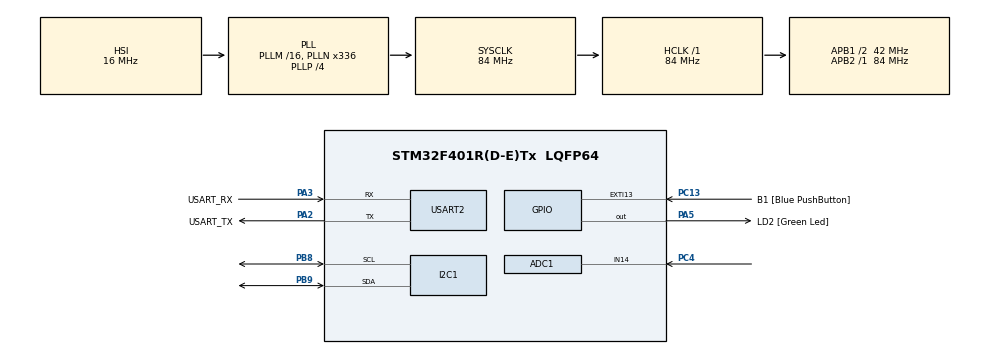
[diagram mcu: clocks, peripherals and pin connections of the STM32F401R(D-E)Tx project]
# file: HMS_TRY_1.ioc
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ADC1.Channel-0\#ChannelRegularConversion=ADC_CHANNEL_14
ADC1.ContinuousConvMode=ENABLE
ADC1.NbrOfConversionFlag=1
ADC1.Rank-0\#ChannelRegularConversion=1
ADC1.SamplingTime-0\#ChannelRegularConversion=ADC_SAMPLETIME_3CYCLES
ADC1.master=1
Mcu.Family=STM32F4
Mcu.Name=STM32F401R(D-E)Tx
Mcu.Package=LQFP64
NVIC.PriorityGroup=NVIC_PRIORITYGROUP_0
PA13.GPIO_Label=TMS
PA13.Mode=Serial_Wire
PA13.Signal=SYS_JTMS-SWDIO
PA14.GPIO_Label=TCK
PA14.Mode=Serial_Wire
PA14.Signal=SYS_JTCK-SWCLK
PA2.GPIO_Label=USART_TX
PA2.GPIO_Mode=GPIO_MODE_AF_PP
PA2.GPIO_PuPd=GPIO_NOPULL
PA2.GPIO_Speed=GPIO_SPEED_FREQ_LOW
PA2.Mode=Asynchronous
PA2.Signal=USART2_TX
PA3.GPIO_Label=USART_RX
PA3.GPIO_Mode=GPIO_MODE_AF_PP
PA3.GPIO_PuPd=GPIO_NOPULL
PA3.GPIO_Speed=GPIO_SPEED_FREQ_LOW
PA3.Mode=Asynchronous
PA3.Signal=USART2_RX
PA5.GPIO_Label=LD2 [Green Led]
PA5.GPIO_Mode=GPIO_MODE_OUTPUT_PP
PA5.GPIO_PuPd=GPIO_NOPULL
PA5.GPIO_Speed=GPIO_SPEED_FREQ_LOW
PA5.Signal=GPIO_Output
PB3.GPIO_Label=SWO
PB3.Signal=SYS_JTDO-SWO
PB8.GPIO_Pu=GPIO_PULLUP
PB8.Mode=I2C
PB8.Signal=I2C1_SCL
PB9.GPIO_Pu=GPIO_PULLUP
PB9.Mode=I2C
PB9.Signal=I2C1_SDA
PC13-ANTI_TAMP.GPIO_Label=B1 [Blue PushButton]
PC13-ANTI_TAMP.GPIO_ModeDefaultEXTI=GPIO_MODE_IT_FALLING
PC13-ANTI_TAMP.GPIO_PuPd=GPIO_NOPULL
PC13-ANTI_TAMP.Signal=GPXTI13
PC14-OSC32_IN.Mode=LSE-External-Oscillator
PC14-OSC32_IN.Signal=RCC_OSC32_IN
PC15-OSC32_OUT.Mode=LSE-External-Oscillator
PC15-OSC32_OUT.Signal=RCC_OSC32_OUT
PC4.Signal=ADCx_IN14
PH0\ -\ OSC_IN.Mode=HSE-External-Clock-Source
PH0\ -\ OSC_IN.Signal=RCC_OSC_IN
PH1\ -\ OSC_OUT.Mode=HSE-External-Clock-Source
PH1\ -\ OSC_OUT.Signal=RCC_OSC_OUT
ProjectManager.HeapSize=0x200
ProjectManager.StackSize=0x400
ProjectManager.TargetToolchain=STM32CubeIDE
RCC.48MHZClocksFreq_Value=48000000
RCC.AHBFreq_Value=84000000
RCC.APB1CLKDivider=RCC_HCLK_DIV2
RCC.APB1Freq_Value=42000000
RCC.APB1TimFreq_Value=84000000
RCC.APB2Freq_Value=84000000
RCC.APB2TimFreq_Value=84000000
RCC.CortexFreq_Value=84000000
RCC.HCLKFreq_Value=84000000
RCC.HSE_VALUE=8000000
RCC.HSI_VALUE=16000000
RCC.PLLN=336
RCC.PLLP=RCC_PLLP_DIV4
RCC.PLLQ=7
RCC.SYSCLKFreq_VALUE=84000000
RCC.SYSCLKSource=RCC_SYSCLKSOURCE_PLLCLK
RCC.VCOOutputFreq_Value=336000000
SH.ADCx_IN14.0=ADC1_IN14,IN14
USART2.VirtualMode=VM_ASYNC
board=NUCLEO-F401RE

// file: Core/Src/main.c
/* USER CODE BEGIN Header */
/**
 ******************************************************************************
 * @file           : main.c
 * @brief          : Main program body
 ******************************************************************************
 * @attention
 *
 * Copyright (c) 2023 STMicroelectronics.
 * All rights reserved.
 *
 * This software is licensed under terms that can be found in the LICENSE file
 * in the root directory of this software component.
 * If no LICENSE file comes with this software, it is provided AS-IS.
 *
 ******************************************************************************
 */
/* USER CODE END Header */
#include "main.h"

/* USER CODE BEGIN Includes */
#include "BML_DEF.h"
#include "uart.h"
#include "MLX90614.h"
#include "max30100.h"
#include "st7783.h"
/* USER CODE END Includes */

/* USER CODE BEGIN PD */
#define PRINT_CHAR_LEN	100
/* USER CODE END PD */

/* USER CODE BEGIN PM */
#define BEAT_COUNTER_LIMIT	25
#define HR_BEAT_TIMEOUT		60000
/* USER CODE END PM */

ADC_HandleTypeDef hadc1;

I2C_HandleTypeDef hi2c1;

UART_HandleTypeDef huart2;

/* USER CODE BEGIN PV */
int8_t menu_select_flag = -1;

//======== MLX90614 Variables ==========//
float temp = 0;
//======================================//

//=========== ECG Variables ============//
uint16_t adcData = 0;
//======================================//

//======== MAX30100 Variables ==========//
max30100_config_t max30100 = { 0 };
uint8_t beatCounter = 0;
int16_t finalHR = 0;
int16_t finalSpO2 = 0;
uint16_t hrBeatTimer = 0;
//======================================//
/* USER CODE END PV */

void SystemClock_Config(void);
static void MX_GPIO_Init(void);
static void MX_USART2_UART_Init(void);
static void MX_ADC1_Init(void);
static void MX_I2C1_Init(void);

int main(void) {

	/* MCU Configuration--------------------------------------------------------*/

	/* Reset of all peripherals, Initializes the Flash interface and the Systick. */
	HAL_Init();

	/* Configure the system clock */
	SystemClock_Config();

	/* Initialize all configured peripherals */
	MX_GPIO_Init();
	MX_USART2_UART_Init();
	MX_ADC1_Init();
	MX_I2C1_Init();
	/* USER CODE BEGIN 2 */
	print("Working\n");

	gpio_config(PORTC, 13, INPUT_MODE, LOW_SPEED, EN_PU, PHPL);
	gpio_IT_config(PORTC, 13, FALLING_EDGE);
	gpio_IT_EN(13, EXTI15_10_IRQn);

	uint8_t mlx90614_workingFlag = 1, mlx90614_status = 0;

	char print_char[PRINT_CHAR_LEN] = { 0 };

	if (!(mlx90614_init())) {
		print("Error in MLX90614 INIT\n");
		mlx90614_workingFlag = 0;
	}

	uint32_t startTime = HAL_GetTick(), lapsedTime = 500;
	max30100_data_t result = { };
	/* USER CODE END 2 */

	/* Infinite loop */
	/* USER CODE BEGIN WHILE */
	while (1) {

		if (menu_select_flag == 0) {
			if (mlx90614_workingFlag == 1) {
				mlx90614_status = mlx90614_getObject1(&temp);
				if (mlx90614_status == true) {
					print("Temp in Celsius: = %0.2f\n", temp);
					Delay(500);
				} else {
					mlx90614_workingFlag = 0;
				}
			} else {
				if (!(mlx90614_init())) {
					print("Error in MLX90614 INIT\n");
					MX_I2C1_Init();
					Delay(500);
					mlx90614_workingFlag = 0;
				} else {
					mlx90614_workingFlag = 1;
				}
			}
		} else if (menu_select_flag == 1) {
			if (max30100_update(&max30100, &result) != HAL_OK) {
				print("Error Reading...Retrying\n");
				MX_I2C1_Init();
				max30100_init(&max30100, &hi2c1,
				MAX30100_DEFAULT_OPERATING_MODE,
				MAX30100_DEFAULT_SAMPLING_RATE,
				MAX30100_DEFAULT_LED_PULSE_WIDTH,
				MAX30100_DEFAULT_IR_LED_CURRENT,
				MAX30100_DEFAULT_START_RED_LED_CURRENT,
				MAX30100_DEFAULT_MEAN_FILTER_SIZE,
				MAX30100_DEFAULT_PULSE_BPM_SAMPLE_SIZE,
				true,
				false);
				Delay(1000);
			} else {
//				hrBeatTimer = HAL_GetTick();
//				if (result.pulse_detected) {
//					print("BEAT: %d\n", beatCounter++);
//				}
//				if (HAL_GetTick() - startTime > lapsedTime) {
//					if (result.ir_dc_value < 10000.00) {
//						print("No finger Detected\n");
//						max30100.current_bpm = 0.0;
//						max30100.current_spO2 = 0.0;
//					} else {
//						if (beatCounter < BEAT_COUNTER_LIMIT) {
//							print("BPM: %0.2f | SpO2: %0.2f%%\n",
//									result.heart_bpm, result.spO2);
//						}
//						else if(beatCounter > BEAT_COUNTER_LIMIT)
//						{
//							finalHR = result.heart_bpm;
//							finalSpO2 = result.spO2;
//							print("//===============| Final HR: %d | SpO2: %d%%|==============//\n",
//									finalHR, finalSpO2);
//							beatCounter = 0;
//						}
////						else if((HAL_GetTick() - hrBeatTimer) > HR_BEAT_TIMEOUT){
////							print("Error Calculating...\n\r");
////							print("Please reposition your finger\n\r");
////						}
//
//					}
//
//					startTime = HAL_GetTick();
//				}
				//			HAL_Delay(10);

					print("%0.2f, %0.2f\n", result.dc_filtered_ir, result.dc_filtered_red);
			}
		} else if (menu_select_flag == 2) {
			HAL_ADC_Start(&hadc1);
			HAL_ADC_PollForConversion(&hadc1, 100);
			adcData = (uint16_t) HAL_ADC_GetValue(&hadc1);
			sprintf(print_char, "Analog Val: %d\n", adcData);
			USART_WRITE(USART2, print_char, strlen(print_char), 100);
		} else if ((menu_select_flag < -1) && (menu_select_flag > 3)) {
			menu_select_flag = -1;
			print("Oh no, a Glitch!!\n\r");
			Delay(500);
			print("We're good\n\r");
			Delay(500);
		}

		/* USER CODE END WHILE */

	}
}

void SystemClock_Config(void) {
	RCC_OscInitTypeDef RCC_OscInitStruct = { 0 };
	RCC_ClkInitTypeDef RCC_ClkInitStruct = { 0 };

	/** Configure the main internal regulator output voltage
	 */
	__HAL_RCC_PWR_CLK_ENABLE();
	__HAL_PWR_VOLTAGESCALING_CONFIG(PWR_REGULATOR_VOLTAGE_SCALE2);

	/** Initializes the RCC Oscillators according to the specified parameters
	 * in the RCC_OscInitTypeDef structure.
	 */
	RCC_OscInitStruct.OscillatorType = RCC_OSCILLATORTYPE_HSI;
	RCC_OscInitStruct.HSIState = RCC_HSI_ON;
	RCC_OscInitStruct.HSICalibrationValue = RCC_HSICALIBRATION_DEFAULT;
	RCC_OscInitStruct.PLL.PLLState = RCC_PLL_ON;
	RCC_OscInitStruct.PLL.PLLSource = RCC_PLLSOURCE_HSI;
	RCC_OscInitStruct.PLL.PLLM = 16;
	RCC_OscInitStruct.PLL.PLLN = 336;
	RCC_OscInitStruct.PLL.PLLP = RCC_PLLP_DIV4;
	RCC_OscInitStruct.PLL.PLLQ = 7;
	if (HAL_RCC_OscConfig(&RCC_OscInitStruct) != HAL_OK) {
		Error_Handler();
	}

	/** Initializes the CPU, AHB and APB buses clocks
	 */
	RCC_ClkInitStruct.ClockType = RCC_CLOCKTYPE_HCLK | RCC_CLOCKTYPE_SYSCLK
			| RCC_CLOCKTYPE_PCLK1 | RCC_CLOCKTYPE_PCLK2;
	RCC_ClkInitStruct.SYSCLKSource = RCC_SYSCLKSOURCE_PLLCLK;
	RCC_ClkInitStruct.AHBCLKDivider = RCC_SYSCLK_DIV1;
	RCC_ClkInitStruct.APB1CLKDivider = RCC_HCLK_DIV2;
	RCC_ClkInitStruct.APB2CLKDivider = RCC_HCLK_DIV1;

	if (HAL_RCC_ClockConfig(&RCC_ClkInitStruct, FLASH_LATENCY_2) != HAL_OK) {
		Error_Handler();
	}
}

static void MX_ADC1_Init(void) {

	ADC_ChannelConfTypeDef sConfig = { 0 };

	/** Configure the global features of the ADC (Clock, Resolution, Data Alignment and number of conversion)
	 */
	hadc1.Instance = ADC1;
	hadc1.Init.ClockPrescaler = ADC_CLOCK_SYNC_PCLK_DIV4;
	hadc1.Init.Resolution = ADC_RESOLUTION_12B;
	hadc1.Init.ScanConvMode = DISABLE;
	hadc1.Init.ContinuousConvMode = ENABLE;
	hadc1.Init.DiscontinuousConvMode = DISABLE;
	hadc1.Init.ExternalTrigConvEdge = ADC_EXTERNALTRIGCONVEDGE_NONE;
	hadc1.Init.ExternalTrigConv = ADC_SOFTWARE_START;
	hadc1.Init.DataAlign = ADC_DATAALIGN_RIGHT;
	hadc1.Init.NbrOfConversion = 1;
	hadc1.Init.DMAContinuousRequests = DISABLE;
	hadc1.Init.EOCSelection = ADC_EOC_SINGLE_CONV;
	if (HAL_ADC_Init(&hadc1) != HAL_OK) {
		Error_Handler();
	}

	/** Configure for the selected ADC regular channel its corresponding rank in the sequencer and its sample time.
	 */
	sConfig.Channel = ADC_CHANNEL_14;
	sConfig.Rank = 1;
	sConfig.SamplingTime = ADC_SAMPLETIME_3CYCLES;
	if (HAL_ADC_ConfigChannel(&hadc1, &sConfig) != HAL_OK) {
		Error_Handler();
	}

}

static void MX_I2C1_Init(void) {

	hi2c1.Instance = I2C1;
	hi2c1.Init.ClockSpeed = 100000;
	hi2c1.Init.DutyCycle = I2C_DUTYCYCLE_2;
	hi2c1.Init.OwnAddress1 = 0;
	hi2c1.Init.AddressingMode = I2C_ADDRESSINGMODE_7BIT;
	hi2c1.Init.DualAddressMode = I2C_DUALADDRESS_DISABLE;
	hi2c1.Init.OwnAddress2 = 0;
	hi2c1.Init.GeneralCallMode = I2C_GENERALCALL_DISABLE;
	hi2c1.Init.NoStretchMode = I2C_NOSTRETCH_DISABLE;
	if (HAL_I2C_Init(&hi2c1) != HAL_OK) {
		Error_Handler();
	}

}

static void MX_USART2_UART_Init(void) {

	huart2.Instance = USART2;
	huart2.Init.BaudRate = 9600;
	huart2.Init.WordLength = UART_WORDLENGTH_8B;
	huart2.Init.StopBits = UART_STOPBITS_1;
	huart2.Init.Parity = UART_PARITY_NONE;
	huart2.Init.Mode = UART_MODE_TX_RX;
	huart2.Init.HwFlowCtl = UART_HWCONTROL_NONE;
	huart2.Init.OverSampling = UART_OVERSAMPLING_16;
	if (HAL_UART_Init(&huart2) != HAL_OK) {
		Error_Handler();
	}

}

static void MX_GPIO_Init(void) {
	GPIO_InitTypeDef GPIO_InitStruct = { 0 };

	/* GPIO Ports Clock Enable */
	__HAL_RCC_GPIOC_CLK_ENABLE();
	__HAL_RCC_GPIOH_CLK_ENABLE();
	__HAL_RCC_GPIOA_CLK_ENABLE();
	__HAL_RCC_GPIOB_CLK_ENABLE();

	/*Configure GPIO pin Output Level */
	HAL_GPIO_WritePin(LD2_GPIO_Port, LD2_Pin, GPIO_PIN_RESET);

	/*Configure GPIO pin : B1_Pin */
	GPIO_InitStruct.Pin = B1_Pin;
	GPIO_InitStruct.Mode = GPIO_MODE_IT_FALLING;
	GPIO_InitStruct.Pull = GPIO_NOPULL;
	HAL_GPIO_Init(B1_GPIO_Port, &GPIO_InitStruct);

	/*Configure GPIO pin : LD2_Pin */
	GPIO_InitStruct.Pin = LD2_Pin;
	GPIO_InitStruct.Mode = GPIO_MODE_OUTPUT_PP;
	GPIO_InitStruct.Pull = GPIO_NOPULL;
	GPIO_InitStruct.Speed = GPIO_SPEED_FREQ_LOW;
	HAL_GPIO_Init(LD2_GPIO_Port, &GPIO_InitStruct);

}

/* USER CODE BEGIN 4 */
void EXTI15_10_IRQHandler() {
	if (gpio_IT_CHK(13)) {
		menu_select_flag = (menu_select_flag + 1) % 3;
		gpio_IT_CLR(13);
	}
}
/* USER CODE END 4 */

void Error_Handler(void) {
	__disable_irq();
	while (1) {
	}
}
